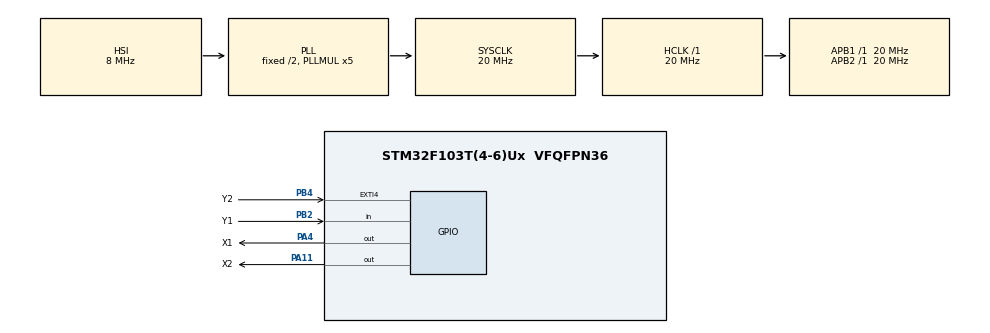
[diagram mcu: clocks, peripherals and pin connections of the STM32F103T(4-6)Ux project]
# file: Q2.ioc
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Mcu.Family=STM32F1
Mcu.Name=STM32F103T(4-6)Ux
Mcu.Package=VFQFPN36
NVIC.EXTI4_IRQn=true\:0\:0\:false\:false\:true\:true\:true\:true
NVIC.PriorityGroup=NVIC_PRIORITYGROUP_4
PA11.GPIO_Label=X2
PA11.Signal=GPIO_Output
PA4.GPIO_Label=X1
PA4.Signal=GPIO_Output
PB2.GPIO_Label=Y1
PB2.Signal=GPIO_Input
PB4.GPIO_Label=Y2
PB4.Signal=GPXTI4
ProjectManager.HeapSize=0x200
ProjectManager.StackSize=0x400
ProjectManager.TargetToolchain=STM32CubeIDE
RCC.AHBFreq_Value=20000000
RCC.APB1Freq_Value=20000000
RCC.APB1TimFreq_Value=20000000
RCC.APB2Freq_Value=20000000
RCC.APB2TimFreq_Value=20000000
RCC.HCLKFreq_Value=20000000
RCC.PLLMUL=RCC_PLL_MUL5
RCC.SYSCLKFreq_VALUE=20000000
RCC.SYSCLKSource=RCC_SYSCLKSOURCE_PLLCLK
RCC.USBFreq_Value=20000000
board=custom

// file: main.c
/* USER CODE BEGIN Header */
/**
  ******************************************************************************
  * @file           : main.c
  * @brief          : Main program body
  ******************************************************************************
  * @attention
  *
  * Copyright (c) 2023 STMicroelectronics.
  * All rights reserved.
  *
  * This software is licensed under terms that can be found in the LICENSE file
  * in the root directory of this software component.
  * If no LICENSE file comes with this software, it is provided AS-IS.
  *
  ******************************************************************************
  */
/* USER CODE END Header */
#include "main.h"

/* USER CODE BEGIN Includes */
//volatile uint8_t Flag = 0;
uint16_t Flag = 0 ;
/* USER CODE END Includes */

void SystemClock_Config(void);
static void MX_GPIO_Init(void);

int main(void)
{

  /* MCU Configuration--------------------------------------------------------*/

  /* Reset of all peripherals, Initializes the Flash interface and the Systick. */
  HAL_Init();

  /* Configure the system clock */
  SystemClock_Config();

  /* Initialize all configured peripherals */
  MX_GPIO_Init();
  /* USER CODE BEGIN 2 */
  HAL_GPIO_WritePin(X1_GPIO_Port,X1_Pin,GPIO_PIN_SET);
  HAL_GPIO_WritePin(X2_GPIO_Port,X2_Pin,GPIO_PIN_SET);
  /* USER CODE END 2 */

  /* Infinite loop */
  /* USER CODE BEGIN WHILE */
  while (1)
  {
  if (Flag == 1)
	{
	  HAL_GPIO_WritePin(X1_GPIO_Port,X1_Pin,GPIO_PIN_RESET);
	  HAL_GPIO_TogglePin(X2_GPIO_Port,X2_Pin);
	  HAL_Delay(100);
	}
  if(HAL_GPIO_ReadPin(Y1_GPIO_Port,Y1_Pin)==0 )
  {
	  HAL_GPIO_WritePin(X1_GPIO_Port,X1_Pin,GPIO_PIN_SET);
	  HAL_GPIO_WritePin(X2_GPIO_Port,X2_Pin,GPIO_PIN_SET);
	  Flag = 0;
  }

    /* USER CODE END WHILE */

  }
}

void SystemClock_Config(void)
{
  RCC_OscInitTypeDef RCC_OscInitStruct = {0};
  RCC_ClkInitTypeDef RCC_ClkInitStruct = {0};

  /** Initializes the RCC Oscillators according to the specified parameters
  * in the RCC_OscInitTypeDef structure.
  */
  RCC_OscInitStruct.OscillatorType = RCC_OSCILLATORTYPE_HSI;
  RCC_OscInitStruct.HSIState = RCC_HSI_ON;
  RCC_OscInitStruct.HSICalibrationValue = RCC_HSICALIBRATION_DEFAULT;
  RCC_OscInitStruct.PLL.PLLState = RCC_PLL_ON;
  RCC_OscInitStruct.PLL.PLLSource = RCC_PLLSOURCE_HSI_DIV2;
  RCC_OscInitStruct.PLL.PLLMUL = RCC_PLL_MUL5;
  if (HAL_RCC_OscConfig(&RCC_OscInitStruct) != HAL_OK)
  {
    Error_Handler();
  }

  /** Initializes the CPU, AHB and APB buses clocks
  */
  RCC_ClkInitStruct.ClockType = RCC_CLOCKTYPE_HCLK|RCC_CLOCKTYPE_SYSCLK
                              |RCC_CLOCKTYPE_PCLK1|RCC_CLOCKTYPE_PCLK2;
  RCC_ClkInitStruct.SYSCLKSource = RCC_SYSCLKSOURCE_PLLCLK;
  RCC_ClkInitStruct.AHBCLKDivider = RCC_SYSCLK_DIV1;
  RCC_ClkInitStruct.APB1CLKDivider = RCC_HCLK_DIV1;
  RCC_ClkInitStruct.APB2CLKDivider = RCC_HCLK_DIV1;

  if (HAL_RCC_ClockConfig(&RCC_ClkInitStruct, FLASH_LATENCY_0) != HAL_OK)
  {
    Error_Handler();
  }
}

static void MX_GPIO_Init(void)
{
  GPIO_InitTypeDef GPIO_InitStruct = {0};

  /* GPIO Ports Clock Enable */
  __HAL_RCC_GPIOA_CLK_ENABLE();
  __HAL_RCC_GPIOB_CLK_ENABLE();

  /*Configure GPIO pin Output Level */
  HAL_GPIO_WritePin(GPIOA, X1_Pin|X2_Pin, GPIO_PIN_RESET);

  /*Configure GPIO pins : X1_Pin X2_Pin */
  GPIO_InitStruct.Pin = X1_Pin|X2_Pin;
  GPIO_InitStruct.Mode = GPIO_MODE_OUTPUT_PP;
  GPIO_InitStruct.Pull = GPIO_NOPULL;
  GPIO_InitStruct.Speed = GPIO_SPEED_FREQ_LOW;
  HAL_GPIO_Init(GPIOA, &GPIO_InitStruct);

  /*Configure GPIO pin : Y1_Pin */
  GPIO_InitStruct.Pin = Y1_Pin;
  GPIO_InitStruct.Mode = GPIO_MODE_INPUT;
  GPIO_InitStruct.Pull = GPIO_NOPULL;
  HAL_GPIO_Init(Y1_GPIO_Port, &GPIO_InitStruct);

  /*Configure GPIO pin : Y2_Pin */
  GPIO_InitStruct.Pin = Y2_Pin;
  GPIO_InitStruct.Mode = GPIO_MODE_IT_RISING;
  GPIO_InitStruct.Pull = GPIO_PULLUP;
  HAL_GPIO_Init(Y2_GPIO_Port, &GPIO_InitStruct);

  /* EXTI interrupt init*/
  HAL_NVIC_SetPriority(EXTI4_IRQn, 0, 0);
  HAL_NVIC_EnableIRQ(EXTI4_IRQn);

}

/* USER CODE BEGIN 4 */
void HAL_GPIO_EXTI_Callback(uint16_t GPIO_Pin)
{
  /* Prevent unused argument(s) compilation warning */
//  UNUSED(GPIO_Pin);
  /* NOTE: This function Should not be modified, when the callback is needed,
           the HAL_GPIO_EXTI_Callback could be implemented in the user file
   */
  if(GPIO_Pin == Y2_Pin)
  {
	  Flag = 1 ;
  }
  else if(GPIO_Pin == Y1_Pin)
  {
	  Flag = 0 ;
  }

}
/* USER CODE END 4 */

void Error_Handler(void)
{
  __disable_irq();
  while (1)
  {
  }
}
